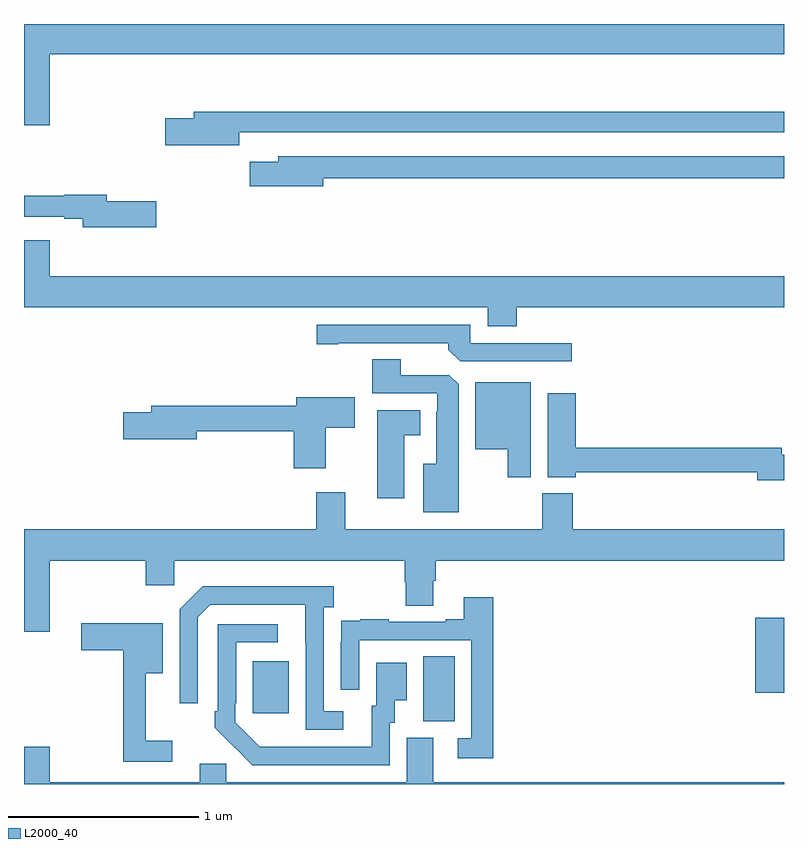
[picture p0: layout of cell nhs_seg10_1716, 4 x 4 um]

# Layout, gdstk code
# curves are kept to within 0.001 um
import gdstk
lib = gdstk.Library(unit=1e-6, precision=1e-09)
def R(c, l, rs):  # rectangles x0, y0, x1, y1
    for r in rs: c.add(gdstk.rectangle(r[:2], r[2:], *l))
def P(c, l, *ps):  # polygons
    for p in ps: c.add(gdstk.Polygon(p, *l))
L2000_40 = (2000, 40)

nhs_seg10_1716 = lib.new_cell('nhs_seg10_1716')
R(nhs_seg10_1716, L2000_40, [(203.102,1272.829,203.266,1273.172), (202.205,1272.873,202.393,1273.147), (204.848,1272.981,205,1273.375)])
P(nhs_seg10_1716, L2000_40, [(201.136,1276.34),(205,1276.34),(205,1276.5),(201,1276.5),(201,1275.966),(201.136,1275.966)],
  [(202.132,1275.93),(205,1275.93),(205,1276.039),(201.893,1276.039),(201.893,1276.005),(201.744,1276.005),(201.744,1275.863),(202.132,1275.863)],
  [(202.576,1275.688),(205,1275.688),(205,1275.804),(202.337,1275.804),(202.337,1275.775),(202.188,1275.775),(202.188,1275.646),(202.576,1275.646)],
  [(201.697,1275.566),(201.436,1275.566),(201.436,1275.602),(201.212,1275.602),(201.212,1275.595),(201,1275.595),(201,1275.486),(201.212,1275.486),(201.212,1275.474),(201.308,1275.474),(201.308,1275.431),(201.697,1275.431)],
  [(203.594,1275.008),(205,1275.008),(205,1275.172),(201.136,1275.172),(201.136,1275.361),(201,1275.361),(201,1275.008),(203.441,1275.008),(203.441,1274.909),(203.594,1274.909)],
  [(203.884,1274.82),(203.349,1274.82),(203.349,1274.916),(202.542,1274.916),(202.542,1274.815),(202.654,1274.815),(202.654,1274.82),(203.234,1274.82),(203.234,1274.786),(203.295,1274.724),(203.884,1274.724)],
  [(203.287,1274.603),(203.238,1274.652),(202.984,1274.652),(202.984,1274.735),(202.832,1274.735),(202.832,1274.556),(203.175,1274.556),(203.175,1274.459),(203.171,1274.459),(203.171,1274.185),(203.102,1274.185),(203.102,1273.931),(203.287,1273.931)],
  [(203.668,1274.614),(203.375,1274.614),(203.375,1274.261),(203.546,1274.261),(203.546,1274.115),(203.668,1274.115)],
  [(205,1274.234),(204.988,1274.234),(204.988,1274.27),(203.903,1274.27),(203.903,1274.557),(203.756,1274.557),(203.756,1274.114),(203.903,1274.114),(203.903,1274.142),(204.86,1274.142),(204.86,1274.099),(205,1274.099)],
  [(202.588,1274.374),(202.741,1274.374),(202.741,1274.536),(202.433,1274.536),(202.433,1274.492),(201.671,1274.492),(201.671,1274.456),(201.522,1274.456),(201.522,1274.314),(201.91,1274.314),(201.91,1274.356),(202.421,1274.356),(202.421,1274.163),(202.588,1274.163)],
  [(203.002,1274.336),(203.086,1274.336),(203.086,1274.467),(202.859,1274.467),(202.859,1274.004),(203.002,1274.004)],
  [(201.136,1273.676),(201.641,1273.676),(201.641,1273.545),(201.792,1273.545),(201.792,1273.676),(203.003,1273.676),(203.003,1273.563),(203.008,1273.563),(203.008,1273.438),(203.155,1273.438),(203.155,1273.57),(203.168,1273.57),(203.168,1273.676),(205,1273.676),(205,1273.84),(203.888,1273.84),(203.888,1274.029),(203.728,1274.029),(203.728,1273.84),(202.69,1273.84),(202.69,1274.035),(202.538,1274.035),(202.538,1273.84),(201,1273.84),(201,1273.302),(201.136,1273.302)],
  [(202.681,1272.882),(202.578,1272.882),(202.578,1273.43),(202.63,1273.43),(202.63,1273.54),(201.94,1273.54),(201.819,1273.419),(201.819,1272.924),(201.915,1272.924),(201.915,1273.377),(201.981,1273.443),(202.481,1273.443),(202.482,1272.786),(202.681,1272.786)],
  [(203.471,1273.483),(203.315,1273.483),(203.315,1273.366),(203.219,1273.366),(203.219,1273.353),(202.919,1273.353),(202.919,1273.366),(202.771,1273.366),(202.771,1273.359),(202.669,1273.359),(202.669,1273.25),(202.668,1273.25),(202.668,1272.996),(202.764,1272.996),(202.764,1273.257),(203.355,1273.257),(203.355,1272.741),(203.283,1272.741),(203.283,1272.636),(203.471,1272.636)],
  [(201.781,1272.727),(201.641,1272.727),(201.641,1273.082),(201.73,1273.082),(201.73,1273.347),(201.3,1273.347),(201.3,1273.205),(201.523,1273.205),(201.523,1272.618),(201.781,1272.618)],
  [(202.926,1272.822),(202.951,1272.822),(202.951,1272.941),(203.014,1272.941),(203.014,1273.138),(202.853,1273.138),(202.853,1272.912),(202.829,1272.912),(202.829,1272.696),(202.242,1272.697),(202.113,1272.825),(202.113,1272.925),(202.116,1272.925),(202.116,1273.245),(202.336,1273.245),(202.336,1273.341),(202.02,1273.341),(202.02,1272.883),(202.005,1272.883),(202.005,1272.795),(202.202,1272.6),(202.926,1272.6)],
  [(205,1272.508),(203.155,1272.508),(203.155,1272.744),(203.015,1272.744),(203.015,1272.508),(202.065,1272.508),(202.065,1272.606),(201.926,1272.606),(201.926,1272.508),(201.136,1272.508),(201.136,1272.697),(201,1272.697),(201,1272.5),(205,1272.5)])

lib.write_gds('nhs_seg10_1716.gds')
